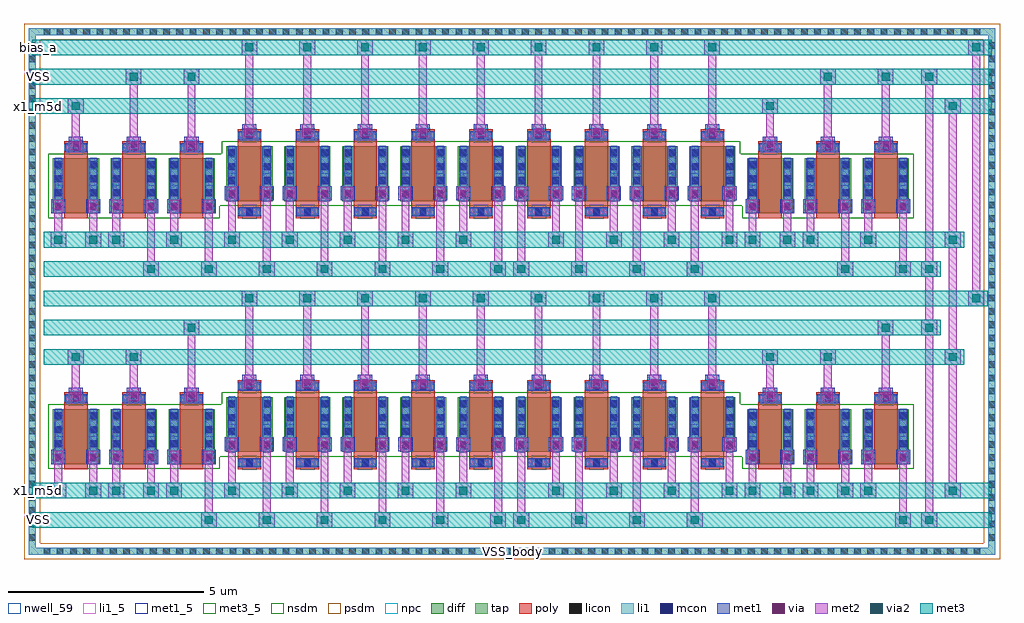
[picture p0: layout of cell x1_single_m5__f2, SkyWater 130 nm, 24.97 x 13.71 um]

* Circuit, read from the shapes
.subckt x1_single_m5__f2 VSS VSS_body bias_a x1_m5d
XM1 x1_m5d x1_m5d x1_m5d VSS_body sky130_fd_pr__nfet_01v8 w=1.4 l=0.6 m=6
XM2 VSS VSS x1_m5d VSS_body sky130_fd_pr__nfet_01v8 w=1.4 l=0.6 m=6
XM3 VSS bias_a x1_m5d VSS_body sky130_fd_pr__nfet_01v8 w=1.4 l=0.6 m=18
.ends

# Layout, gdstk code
from math import pi, radians
import gdstk
lib = gdstk.Library(unit=1e-6, precision=1e-09)
def R(c, l, rs):  # rectangles x0, y0, x1, y1
    for r in rs: c.add(gdstk.rectangle(r[:2], r[2:], *l))
def A(c, l, x, y, w, h, nx, ny, dx, dy):  # array of equal rectangles
    R(c, l, [(x+i*dx, y+j*dy, x+i*dx+w, y+j*dy+h) for i in range(nx) for j in range(ny)])
nwell_59 = (64, 59)
diff = (65, 20)
tap = (65, 44)
poly = (66, 20)
licon = (66, 44)
li1_5 = (67, 5)
li1 = (67, 20)
mcon = (67, 44)
met1_5 = (68, 5)
met1 = (68, 20)
via = (68, 44)
met2 = (69, 20)
via2 = (69, 44)
met3_5 = (70, 5)
met3 = (70, 20)
nsdm = (93, 44)
psdm = (94, 20)
npc = (95, 20)

sky130_fd_pr__nfet_01v8_ = lib.new_cell('sky130_fd_pr__nfet_01v8_RUA5M6')
R(sky130_fd_pr__nfet_01v8_, diff, [(-0.59,-0.855,0.59,0.545)])
R(sky130_fd_pr__nfet_01v8_, poly, [(-0.3,-0.985,0.3,0.985)])
A(sky130_fd_pr__nfet_01v8_, licon, -0.53, -0.75, 0.17, 0.17, 1, 4, 0, 0.34)
A(sky130_fd_pr__nfet_01v8_, licon, 0.36, -0.75, 0.17, 0.17, 1, 4, 0, 0.34)
R(sky130_fd_pr__nfet_01v8_, licon, [(-0.085,0.735,0.085,0.905)])
R(sky130_fd_pr__nfet_01v8_, li1, [(-0.53,-0.875,-0.36,0.565), (0.36,-0.875,0.53,0.565), (-0.3,0.735,0.3,0.905)])
A(sky130_fd_pr__nfet_01v8_, mcon, -0.53, -0.78, 0.17, 0.17, 1, 4, 0, 0.36)
A(sky130_fd_pr__nfet_01v8_, mcon, 0.36, -0.78, 0.17, 0.17, 1, 4, 0, 0.36)
R(sky130_fd_pr__nfet_01v8_, mcon, [(-0.085,0.735,0.085,0.905)])
R(sky130_fd_pr__nfet_01v8_, met1, [(-0.56,-0.855,-0.33,0.545), (0.33,-0.855,0.56,0.545), (-0.28,0.705,0.28,0.935)])
R(sky130_fd_pr__nfet_01v8_, nsdm, [(-0.715,-0.98,0.715,0.67)])
R(sky130_fd_pr__nfet_01v8_, npc, [(-0.185,0.635,0.185,1.005)])
sky130_fd_pr__nfet_01v8_.add(gdstk.Label('D', (-0.445,-0.155), layer=67, texttype=5))
sky130_fd_pr__nfet_01v8_.add(gdstk.Label('S', (0.445,-0.155), layer=67, texttype=5))
sky130_fd_pr__nfet_01v8_.add(gdstk.Label('G', (0,0.82), layer=67, texttype=5))

nfet_01v8_w1p4_l0p6_m6__ = lib.new_cell('nfet_01v8_W1p4_L0p6_m6__nf1_gtop_sdfull_ng')
R(nfet_01v8_w1p4_l0p6_m6__, nwell_59, [(0.05,0.78,0.15,0.88)])
R(nfet_01v8_w1p4_l0p6_m6__, met1_5, [(0.03,0.83,0.26,1.03), (0.92,0.83,1.15,1.03), (0.31,1.69,0.87,1.92)])
R(nfet_01v8_w1p4_l0p6_m6__, met1, [(0.03,0.83,0.26,1.03), (0.92,0.83,1.15,1.03), (0.31,1.69,0.87,1.92)])
nfet_01v8_w1p4_l0p6_m6__.add(gdstk.Reference(sky130_fd_pr__nfet_01v8_, (0.59,0.985)))
nfet_01v8_w1p4_l0p6_m6__.add(gdstk.Label('D', (0.145,0.93), layer=68, texttype=5))
nfet_01v8_w1p4_l0p6_m6__.add(gdstk.Label('S', (1.035,0.93), layer=68, texttype=5))
nfet_01v8_w1p4_l0p6_m6__.add(gdstk.Label('G', (0.59,1.805), layer=68, texttype=5))
nfet_01v8_w1p4_l0p6_m6__.add(gdstk.Label('B', (0.1,0.83), layer=64, texttype=59))

c_sky130_fd_pr__nfet_01v8_ = lib.new_cell('sky130_fd_pr__nfet_01v8_KCM6UP')
R(c_sky130_fd_pr__nfet_01v8_, diff, [(-0.59,-0.7,0.59,0.7)])
R(c_sky130_fd_pr__nfet_01v8_, poly, [(-0.3,-1.14,0.3,1.14)])
A(c_sky130_fd_pr__nfet_01v8_, licon, -0.53, -0.595, 0.17, 0.17, 1, 4, 0, 0.34)
A(c_sky130_fd_pr__nfet_01v8_, licon, 0.36, -0.595, 0.17, 0.17, 1, 4, 0, 0.34)
R(c_sky130_fd_pr__nfet_01v8_, licon, [(-0.085,-1.06,0.085,-0.89), (-0.085,0.89,0.085,1.06)])
R(c_sky130_fd_pr__nfet_01v8_, li1, [(-0.3,-1.06,0.3,-0.89), (-0.53,-0.72,-0.36,0.72), (0.36,-0.72,0.53,0.72), (-0.3,0.89,0.3,1.06)])
A(c_sky130_fd_pr__nfet_01v8_, mcon, -0.53, -0.625, 0.17, 0.17, 1, 4, 0, 0.36)
A(c_sky130_fd_pr__nfet_01v8_, mcon, 0.36, -0.625, 0.17, 0.17, 1, 4, 0, 0.36)
R(c_sky130_fd_pr__nfet_01v8_, mcon, [(-0.085,-1.06,0.085,-0.89), (-0.085,0.89,0.085,1.06)])
R(c_sky130_fd_pr__nfet_01v8_, met1, [(-0.28,-1.09,0.28,-0.86), (-0.56,-0.7,-0.33,0.7), (0.33,-0.7,0.56,0.7), (-0.28,0.86,0.28,1.09)])
R(c_sky130_fd_pr__nfet_01v8_, nsdm, [(-0.715,-0.825,0.715,0.825)])
R(c_sky130_fd_pr__nfet_01v8_, npc, [(-0.185,-1.16,0.185,-0.79), (-0.185,0.79,0.185,1.16)])
c_sky130_fd_pr__nfet_01v8_.add(gdstk.Label('D', (-0.445,0), layer=67, texttype=5))
c_sky130_fd_pr__nfet_01v8_.add(gdstk.Label('S', (0.445,0), layer=67, texttype=5))
c_sky130_fd_pr__nfet_01v8_.add(gdstk.Label('G', (0,0.975), layer=67, texttype=5))

nfet_01v8_w1p4_l0p6_m18_ = lib.new_cell('nfet_01v8_W1p4_L0p6_m18__nf1_gboth_sdfull_ng')
R(nfet_01v8_w1p4_l0p6_m18_, nwell_59, [(0.05,1.09,0.15,1.19)])
R(nfet_01v8_w1p4_l0p6_m18_, met1_5, [(0.03,1.14,0.26,1.34), (0.92,1.14,1.15,1.34), (0.31,2,0.87,2.23)])
R(nfet_01v8_w1p4_l0p6_m18_, met1, [(0.03,1.14,0.26,1.34), (0.92,1.14,1.15,1.34), (0.31,2,0.87,2.23)])
nfet_01v8_w1p4_l0p6_m18_.add(gdstk.Reference(c_sky130_fd_pr__nfet_01v8_, (0.59,1.14)))
nfet_01v8_w1p4_l0p6_m18_.add(gdstk.Label('D', (0.145,1.24), layer=68, texttype=5))
nfet_01v8_w1p4_l0p6_m18_.add(gdstk.Label('S', (1.035,1.24), layer=68, texttype=5))
nfet_01v8_w1p4_l0p6_m18_.add(gdstk.Label('G', (0.59,2.115), layer=68, texttype=5))
nfet_01v8_w1p4_l0p6_m18_.add(gdstk.Label('B', (0.1,1.14), layer=64, texttype=59))

x1_single_m5__f2 = lib.new_cell('x1_single_m5__f2')
R(x1_single_m5__f2, tap, [(-0.485,-2.185,24.235,-2.015), (-0.485,-2.015,-0.315,11.105), (24.065,-2.015,24.235,11.105), (-0.485,11.105,24.235,11.275)])
A(x1_single_m5__f2, licon, -0.11, -2.185, 0.17, 0.17, 71, 2, 0.34, 13.29)
A(x1_single_m5__f2, licon, -0.485, -1.83, 0.17, 0.17, 1, 38, 0, 0.34)
A(x1_single_m5__f2, licon, 24.065, -1.83, 0.17, 0.17, 1, 38, 0, 0.34)
R(x1_single_m5__f2, li1_5, [(11.825,-2.15,11.925,-2.05)])
R(x1_single_m5__f2, li1, [(-0.485,-2.185,24.235,-2.015), (-0.485,-2.015,-0.315,11.105), (24.065,-2.015,24.235,11.105), (-0.485,11.105,24.235,11.275)])
A(x1_single_m5__f2, met1, 0.535, 1.72, 0.36, 0.36, 3, 2, 1.48, 6.42)
A(x1_single_m5__f2, met1, 18.295, 1.72, 0.36, 0.36, 3, 2, 1.48, 6.42)
A(x1_single_m5__f2, met1, 4.975, 2.05, 0.36, 0.36, 9, 2, 1.48, 6.42)
R(x1_single_m5__f2, met1, [(0.09,0.13,0.45,0.49), (0.98,0.13,1.34,0.49), (1.57,0.13,1.93,0.49), (2.46,0.13,2.82,0.49), (3.05,0.13,3.41,0.49), (3.94,0.13,4.3,0.49), (17.85,0.13,18.21,0.49), (18.74,0.13,19.1,0.49), (19.33,0.13,19.69,0.49), (20.22,0.13,20.58,0.49), (20.81,0.13,21.17,0.49), (21.7,0.13,22.06,0.49), (4.53,0.46,4.89,0.82), (5.42,0.46,5.78,0.82), (6.01,0.46,6.37,0.82), (6.9,0.46,7.26,0.82), (7.49,0.46,7.85,0.82), (8.38,0.46,8.74,0.82), (8.97,0.46,9.33,0.82), (9.86,0.46,10.22,0.82), (10.45,0.46,10.81,0.82), (11.34,0.46,11.7,0.82), (11.93,0.46,12.29,0.82), (12.82,0.46,13.18,0.82), (13.41,0.46,13.77,0.82), (14.3,0.46,14.66,0.82), (14.89,0.46,15.25,0.82), (15.78,0.46,16.14,0.82), (16.37,0.46,16.73,0.82), (17.26,0.46,17.62,0.82), (0.09,6.55,0.45,6.91), (0.98,6.55,1.34,6.91), (1.57,6.55,1.93,6.91), (2.46,6.55,2.82,6.91), (3.05,6.55,3.41,6.91), (3.94,6.55,4.3,6.91), (17.85,6.55,18.21,6.91), (18.74,6.55,19.1,6.91), (19.33,6.55,19.69,6.91), (20.22,6.55,20.58,6.91), (20.81,6.55,21.17,6.91), (21.7,6.55,22.06,6.91), (4.53,6.88,4.89,7.24), (5.42,6.88,5.78,7.24), (6.01,6.88,6.37,7.24), (6.9,6.88,7.26,7.24), (7.49,6.88,7.85,7.24), (8.38,6.88,8.74,7.24), (8.97,6.88,9.33,7.24), (9.86,6.88,10.22,7.24), (10.45,6.88,10.81,7.24), (11.34,6.88,11.7,7.24), (11.93,6.88,12.29,7.24), (12.82,6.88,13.18,7.24), (13.41,6.88,13.77,7.24), (14.3,6.88,14.66,7.24), (14.89,6.88,15.25,7.24), (15.78,6.88,16.14,7.24), (16.37,6.88,16.73,7.24), (17.26,6.88,17.62,7.24)])
A(x1_single_m5__f2, via, 0.64, 1.825, 0.15, 0.15, 3, 2, 1.48, 6.42)
A(x1_single_m5__f2, via, 18.4, 1.825, 0.15, 0.15, 3, 2, 1.48, 6.42)
A(x1_single_m5__f2, via, 5.08, 2.155, 0.15, 0.15, 9, 2, 1.48, 6.42)
R(x1_single_m5__f2, via, [(0.195,0.235,0.345,0.385), (1.085,0.235,1.235,0.385), (1.675,0.235,1.825,0.385), (2.565,0.235,2.715,0.385), (3.155,0.235,3.305,0.385), (4.045,0.235,4.195,0.385), (17.955,0.235,18.105,0.385), (18.845,0.235,18.995,0.385), (19.435,0.235,19.585,0.385), (20.325,0.235,20.475,0.385), (20.915,0.235,21.065,0.385), (21.805,0.235,21.955,0.385), (4.635,0.565,4.785,0.715), (5.525,0.565,5.675,0.715), (6.115,0.565,6.265,0.715), (7.005,0.565,7.155,0.715), (7.595,0.565,7.745,0.715), (8.485,0.565,8.635,0.715), (9.075,0.565,9.225,0.715), (9.965,0.565,10.115,0.715), (10.555,0.565,10.705,0.715), (11.445,0.565,11.595,0.715), (12.035,0.565,12.185,0.715), (12.925,0.565,13.075,0.715), (13.515,0.565,13.665,0.715), (14.405,0.565,14.555,0.715), (14.995,0.565,15.145,0.715), (15.885,0.565,16.035,0.715), (16.475,0.565,16.625,0.715), (17.365,0.565,17.515,0.715), (0.195,6.655,0.345,6.805), (1.085,6.655,1.235,6.805), (1.675,6.655,1.825,6.805), (2.565,6.655,2.715,6.805), (3.155,6.655,3.305,6.805), (4.045,6.655,4.195,6.805), (17.955,6.655,18.105,6.805), (18.845,6.655,18.995,6.805), (19.435,6.655,19.585,6.805), (20.325,6.655,20.475,6.805), (20.915,6.655,21.065,6.805), (21.805,6.655,21.955,6.805), (4.635,6.985,4.785,7.135), (5.525,6.985,5.675,7.135), (6.115,6.985,6.265,7.135), (7.005,6.985,7.155,7.135), (7.595,6.985,7.745,7.135), (8.485,6.985,8.635,7.135), (9.075,6.985,9.225,7.135), (9.965,6.985,10.115,7.135), (10.555,6.985,10.705,7.135), (11.445,6.985,11.595,7.135), (12.035,6.985,12.185,7.135), (12.925,6.985,13.075,7.135), (13.515,6.985,13.665,7.135), (14.405,6.985,14.555,7.135), (14.995,6.985,15.145,7.135), (15.885,6.985,16.035,7.135), (16.475,6.985,16.625,7.135), (17.365,6.985,17.515,7.135)])
A(x1_single_m5__f2, met2, 3.92, -1.5, 0.4, 0.4, 6, 1, 1.48, 0)
A(x1_single_m5__f2, met2, 11.91, -1.5, 0.4, 0.4, 4, 2, 1.48, 6.42)
A(x1_single_m5__f2, met2, 5.5, -1.1, 0.2, 1.58, 5, 2, 1.48, 6.42)
A(x1_single_m5__f2, met2, 12.01, -1.1, 0.2, 1.58, 4, 2, 1.48, 6.42)
A(x1_single_m5__f2, met2, 3.03, -0.75, 0.4, 0.4, 6, 1, 1.48, 0)
A(x1_single_m5__f2, met2, 12.8, -0.75, 0.4, 0.4, 4, 2, 1.48, 6.42)
A(x1_single_m5__f2, met2, 4.61, -0.35, 0.2, 0.83, 5, 2, 1.48, 6.42)
A(x1_single_m5__f2, met2, 12.9, -0.35, 0.2, 0.83, 4, 2, 1.48, 6.42)
A(x1_single_m5__f2, met2, 0.585, 1.74, 0.26, 0.32, 3, 2, 1.48, 6.42)
A(x1_single_m5__f2, met2, 18.345, 1.74, 0.26, 0.32, 3, 2, 1.48, 6.42)
A(x1_single_m5__f2, met2, 5.025, 2.07, 0.26, 0.32, 9, 2, 1.48, 6.42)
A(x1_single_m5__f2, met2, 5.055, 2.39, 0.2, 1.78, 9, 2, 1.48, 6.42)
A(x1_single_m5__f2, met2, 4.955, 4.17, 0.4, 0.4, 9, 2, 1.48, 6.42)
A(x1_single_m5__f2, met2, 2.44, 4.92, 0.4, 0.4, 7, 1, 1.48, 0)
A(x1_single_m5__f2, met2, 1.55, 5.67, 0.4, 0.4, 7, 1, 1.48, 0)
R(x1_single_m5__f2, met2, [(21.68,-1.5,22.08,-1.1), (22.35,-1.5,22.75,-1.1), (4.02,-1.1,4.22,0.15), (21.78,-1.1,21.98,0.15), (22.45,-1.1,22.65,3.42), (0.07,-0.75,0.47,-0.35), (0.96,-0.75,1.36,-0.35), (1.55,-0.75,1.95,-0.35), (2.44,-0.75,2.84,-0.35), (17.83,-0.75,18.23,-0.35), (18.72,-0.75,19.12,-0.35), (19.31,-0.75,19.71,-0.35), (20.2,-0.75,20.6,-0.35), (20.79,-0.75,21.19,-0.35), (22.95,-0.75,23.35,-0.35), (0.17,-0.35,0.37,0.15), (1.06,-0.35,1.26,0.15), (1.65,-0.35,1.85,0.15), (2.54,-0.35,2.74,0.15), (3.13,-0.35,3.33,0.15), (17.93,-0.35,18.13,0.15), (18.82,-0.35,19.02,0.15), (19.41,-0.35,19.61,0.15), (20.3,-0.35,20.5,0.15), (20.89,-0.35,21.09,0.15), (23.05,-0.35,23.25,2.67), (0.14,0.15,0.4,0.47), (1.03,0.15,1.29,0.47), (1.62,0.15,1.88,0.47), (2.51,0.15,2.77,0.47), (3.1,0.15,3.36,0.47), (3.99,0.15,4.25,0.47), (17.9,0.15,18.16,0.47), (18.79,0.15,19.05,0.47), (19.38,0.15,19.64,0.47), (20.27,0.15,20.53,0.47), (20.86,0.15,21.12,0.47), (21.75,0.15,22.01,0.47), (4.58,0.48,4.84,0.8), (5.47,0.48,5.73,0.8), (6.06,0.48,6.32,0.8), (6.95,0.48,7.21,0.8), (7.54,0.48,7.8,0.8), (8.43,0.48,8.69,0.8), (9.02,0.48,9.28,0.8), (9.91,0.48,10.17,0.8), (10.5,0.48,10.76,0.8), (11.39,0.48,11.65,0.8), (11.98,0.48,12.24,0.8), (12.87,0.48,13.13,0.8), (13.46,0.48,13.72,0.8), (14.35,0.48,14.61,0.8), (14.94,0.48,15.2,0.8), (15.83,0.48,16.09,0.8), (16.42,0.48,16.68,0.8), (17.31,0.48,17.57,0.8), (0.615,2.06,0.815,2.67), (2.095,2.06,2.295,2.67), (3.575,2.06,3.775,3.42), (18.375,2.06,18.575,2.67), (19.855,2.06,20.055,2.67), (21.335,2.06,21.535,3.42), (0.515,2.67,0.915,3.07), (1.995,2.67,2.395,3.07), (18.275,2.67,18.675,3.07), (19.755,2.67,20.155,3.07), (22.95,2.67,23.35,3.07), (23.05,3.07,23.25,5.67), (3.475,3.42,3.875,3.82), (21.235,3.42,21.635,3.82), (22.35,3.42,22.75,3.82), (22.45,3.82,22.65,4.92), (23.55,4.17,23.95,4.57), (23.65,4.57,23.85,10.59), (20.2,4.92,20.6,5.32), (21.68,4.92,22.08,5.32), (22.35,4.92,22.75,5.32), (2.54,5.32,2.74,6.57), (4.02,5.32,4.22,6.57), (20.3,5.32,20.5,6.57), (21.78,5.32,21.98,6.57), (22.45,5.32,22.65,9.84), (0.07,5.67,0.47,6.07), (0.96,5.67,1.36,6.07), (17.83,5.67,18.23,6.07), (18.72,5.67,19.12,6.07), (19.31,5.67,19.71,6.07), (20.79,5.67,21.19,6.07), (22.95,5.67,23.35,6.07), (0.17,6.07,0.37,6.57), (1.06,6.07,1.26,6.57), (1.65,6.07,1.85,6.57), (3.13,6.07,3.33,6.57), (17.93,6.07,18.13,6.57), (18.82,6.07,19.02,6.57), (19.41,6.07,19.61,6.57), (20.89,6.07,21.09,6.57), (23.05,6.07,23.25,9.09), (0.14,6.57,0.4,6.89), (1.03,6.57,1.29,6.89), (1.62,6.57,1.88,6.89), (2.51,6.57,2.77,6.89), (3.1,6.57,3.36,6.89), (3.99,6.57,4.25,6.89), (17.9,6.57,18.16,6.89), (18.79,6.57,19.05,6.89), (19.38,6.57,19.64,6.89), (20.27,6.57,20.53,6.89), (20.86,6.57,21.12,6.89), (21.75,6.57,22.01,6.89), (4.58,6.9,4.84,7.22), (5.47,6.9,5.73,7.22), (6.06,6.9,6.32,7.22), (6.95,6.9,7.21,7.22), (7.54,6.9,7.8,7.22), (8.43,6.9,8.69,7.22), (9.02,6.9,9.28,7.22), (9.91,6.9,10.17,7.22), (10.5,6.9,10.76,7.22), (11.39,6.9,11.65,7.22), (11.98,6.9,12.24,7.22), (12.87,6.9,13.13,7.22), (13.46,6.9,13.72,7.22), (14.35,6.9,14.61,7.22), (14.94,6.9,15.2,7.22), (15.83,6.9,16.09,7.22), (16.42,6.9,16.68,7.22), (17.31,6.9,17.57,7.22), (0.615,8.48,0.815,9.09), (2.095,8.48,2.295,9.84), (3.575,8.48,3.775,9.84), (18.375,8.48,18.575,9.09), (19.855,8.48,20.055,9.84), (21.335,8.48,21.535,9.84), (0.515,9.09,0.915,9.49), (18.275,9.09,18.675,9.49), (22.95,9.09,23.35,9.49), (1.995,9.84,2.395,10.24), (3.475,9.84,3.875,10.24), (19.755,9.84,20.155,10.24), (21.235,9.84,21.635,10.24), (22.35,9.84,22.75,10.24), (23.55,10.59,23.95,10.99)])
A(x1_single_m5__f2, via2, 4.02, -1.4, 0.2, 0.2, 6, 1, 1.48, 0)
A(x1_single_m5__f2, via2, 12.01, -1.4, 0.2, 0.2, 4, 2, 1.48, 6.42)
A(x1_single_m5__f2, via2, 3.13, -0.65, 0.2, 0.2, 6, 1, 1.48, 0)
A(x1_single_m5__f2, via2, 12.9, -0.65, 0.2, 0.2, 4, 2, 1.48, 6.42)
A(x1_single_m5__f2, via2, 5.055, 4.27, 0.2, 0.2, 9, 2, 1.48, 6.42)
A(x1_single_m5__f2, via2, 2.54, 5.02, 0.2, 0.2, 7, 1, 1.48, 0)
A(x1_single_m5__f2, via2, 1.65, 5.77, 0.2, 0.2, 7, 1, 1.48, 0)
R(x1_single_m5__f2, via2, [(21.78,-1.4,21.98,-1.2), (22.45,-1.4,22.65,-1.2), (0.17,-0.65,0.37,-0.45), (1.06,-0.65,1.26,-0.45), (1.65,-0.65,1.85,-0.45), (2.54,-0.65,2.74,-0.45), (17.93,-0.65,18.13,-0.45), (18.82,-0.65,19.02,-0.45), (19.41,-0.65,19.61,-0.45), (20.3,-0.65,20.5,-0.45), (20.89,-0.65,21.09,-0.45), (23.05,-0.65,23.25,-0.45), (0.615,2.77,0.815,2.97), (2.095,2.77,2.295,2.97), (18.375,2.77,18.575,2.97), (19.855,2.77,20.055,2.97), (23.05,2.77,23.25,2.97), (3.575,3.52,3.775,3.72), (21.335,3.52,21.535,3.72), (22.45,3.52,22.65,3.72), (23.65,4.27,23.85,4.47), (20.3,5.02,20.5,5.22), (21.78,5.02,21.98,5.22), (22.45,5.02,22.65,5.22), (0.17,5.77,0.37,5.97), (1.06,5.77,1.26,5.97), (17.93,5.77,18.13,5.97), (18.82,5.77,19.02,5.97), (19.41,5.77,19.61,5.97), (20.89,5.77,21.09,5.97), (23.05,5.77,23.25,5.97), (0.615,9.19,0.815,9.39), (18.375,9.19,18.575,9.39), (23.05,9.19,23.25,9.39), (2.095,9.94,2.295,10.14), (3.575,9.94,3.775,10.14), (19.855,9.94,20.055,10.14), (21.335,9.94,21.535,10.14), (22.45,9.94,22.65,10.14), (23.65,10.69,23.85,10.89)])
A(x1_single_m5__f2, met3_5, -0.3, 9.24, 0.1, 0.1, 1, 3, 0, 0.75)
R(x1_single_m5__f2, met3_5, [(-0.3,-1.35,-0.2,-1.25), (-0.3,-0.6,-0.2,-0.5)])
A(x1_single_m5__f2, met3, -0.4, 9.09, 24.55, 0.4, 1, 3, 0, 0.75)
R(x1_single_m5__f2, met3, [(-0.4,-1.5,24.15,-1.1), (-0.4,-0.75,24.15,-0.35), (-0.1,2.67,23.45,3.07), (-0.1,3.42,22.85,3.82), (-0.1,4.17,24.05,4.57), (-0.1,4.92,22.85,5.32), (-0.1,5.67,23.45,6.07)])
A(x1_single_m5__f2, nsdm, 5.875, 0.315, 0.05, 1.65, 8, 2, 1.48, 6.42)
R(x1_single_m5__f2, nsdm, [(1.435,0.005,1.485,1.655), (2.915,0.005,2.965,1.655), (19.195,0.005,19.245,1.655), (20.675,0.005,20.725,1.655), (4.395,0.315,4.445,1.655), (17.715,0.315,17.765,1.655), (1.435,6.425,1.485,8.075), (2.915,6.425,2.965,8.075), (19.195,6.425,19.245,8.075), (20.675,6.425,20.725,8.075), (4.395,6.735,4.445,8.075), (17.715,6.735,17.765,8.075)])
R(x1_single_m5__f2, psdm, [(-0.61,-2.31,24.36,-1.89), (-0.61,-1.89,-0.19,10.98), (23.94,-1.89,24.36,10.98), (-0.61,10.98,24.36,11.4)])
x1_single_m5__f2.add(gdstk.Reference(nfet_01v8_w1p4_l0p6_m6__, (20.85,6.42)))
x1_single_m5__f2.add(gdstk.Reference(nfet_01v8_w1p4_l0p6_m6__, (19.37,6.42)))
x1_single_m5__f2.add(gdstk.Reference(nfet_01v8_w1p4_l0p6_m6__, (17.89,6.42)))
x1_single_m5__f2.add(gdstk.Reference(nfet_01v8_w1p4_l0p6_m18_, (17.59,6.42), rotation=pi, x_reflection=True))
x1_single_m5__f2.add(gdstk.Reference(nfet_01v8_w1p4_l0p6_m18_, (16.11,6.42), rotation=pi, x_reflection=True))
x1_single_m5__f2.add(gdstk.Reference(nfet_01v8_w1p4_l0p6_m18_, (14.63,6.42), rotation=pi, x_reflection=True))
x1_single_m5__f2.add(gdstk.Reference(nfet_01v8_w1p4_l0p6_m18_, (13.15,6.42), rotation=pi, x_reflection=True))
x1_single_m5__f2.add(gdstk.Reference(nfet_01v8_w1p4_l0p6_m18_, (10.49,6.42)))
x1_single_m5__f2.add(gdstk.Reference(nfet_01v8_w1p4_l0p6_m18_, (9.01,6.42)))
x1_single_m5__f2.add(gdstk.Reference(nfet_01v8_w1p4_l0p6_m18_, (7.53,6.42)))
x1_single_m5__f2.add(gdstk.Reference(nfet_01v8_w1p4_l0p6_m18_, (6.05,6.42)))
x1_single_m5__f2.add(gdstk.Reference(nfet_01v8_w1p4_l0p6_m18_, (4.57,6.42)))
x1_single_m5__f2.add(gdstk.Reference(nfet_01v8_w1p4_l0p6_m6__, (3.09,6.42)))
x1_single_m5__f2.add(gdstk.Reference(nfet_01v8_w1p4_l0p6_m6__, (1.61,6.42)))
x1_single_m5__f2.add(gdstk.Reference(nfet_01v8_w1p4_l0p6_m6__, (0.13,6.42)))
x1_single_m5__f2.add(gdstk.Reference(nfet_01v8_w1p4_l0p6_m6__, (20.85,0)))
x1_single_m5__f2.add(gdstk.Reference(nfet_01v8_w1p4_l0p6_m6__, (19.37,0)))
x1_single_m5__f2.add(gdstk.Reference(nfet_01v8_w1p4_l0p6_m6__, (17.89,0)))
x1_single_m5__f2.add(gdstk.Reference(nfet_01v8_w1p4_l0p6_m18_, (17.59,0), rotation=pi, x_reflection=True))
x1_single_m5__f2.add(gdstk.Reference(nfet_01v8_w1p4_l0p6_m18_, (16.11,0), rotation=pi, x_reflection=True))
x1_single_m5__f2.add(gdstk.Reference(nfet_01v8_w1p4_l0p6_m18_, (14.63,0), rotation=pi, x_reflection=True))
x1_single_m5__f2.add(gdstk.Reference(nfet_01v8_w1p4_l0p6_m18_, (13.15,0), rotation=pi, x_reflection=True))
x1_single_m5__f2.add(gdstk.Reference(nfet_01v8_w1p4_l0p6_m18_, (10.49,0)))
x1_single_m5__f2.add(gdstk.Reference(nfet_01v8_w1p4_l0p6_m18_, (9.01,0)))
x1_single_m5__f2.add(gdstk.Reference(nfet_01v8_w1p4_l0p6_m18_, (7.53,0)))
x1_single_m5__f2.add(gdstk.Reference(nfet_01v8_w1p4_l0p6_m18_, (6.05,0)))
x1_single_m5__f2.add(gdstk.Reference(nfet_01v8_w1p4_l0p6_m18_, (4.57,0)))
x1_single_m5__f2.add(gdstk.Reference(nfet_01v8_w1p4_l0p6_m6__, (3.09,0)))
x1_single_m5__f2.add(gdstk.Reference(nfet_01v8_w1p4_l0p6_m6__, (1.61,0)))
x1_single_m5__f2.add(gdstk.Reference(nfet_01v8_w1p4_l0p6_m6__, (0.13,0)))
x1_single_m5__f2.add(gdstk.Label('x1_m5d', (-0.25,9.29), layer=70, texttype=5))
x1_single_m5__f2.add(gdstk.Label('VSS', (-0.25,10.04), layer=70, texttype=5))
x1_single_m5__f2.add(gdstk.Label('bias_a', (-0.25,10.79), layer=70, texttype=5))
x1_single_m5__f2.add(gdstk.Label('x1_m5d', (-0.25,-0.55), layer=70, texttype=5))
x1_single_m5__f2.add(gdstk.Label('VSS', (-0.25,-1.3), layer=70, texttype=5))
x1_single_m5__f2.add(gdstk.Label('VSS_body', (11.875,-2.1), layer=67, texttype=5))

lib.write_gds('x1_single_m5__f2.gds')
